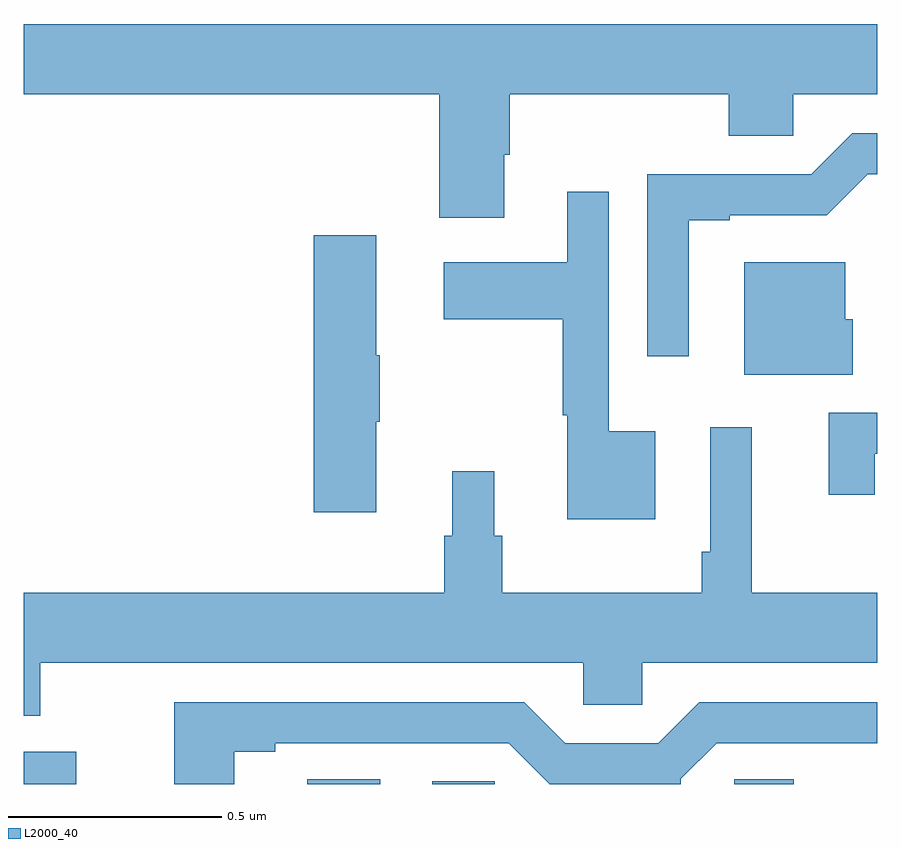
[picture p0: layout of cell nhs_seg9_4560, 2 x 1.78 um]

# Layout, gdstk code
import gdstk
lib = gdstk.Library(unit=1e-6, precision=1e-09)
def R(c, l, rs):  # rectangles x0, y0, x1, y1
    for r in rs: c.add(gdstk.rectangle(r[:2], r[2:], *l))
def P(c, l, *ps):  # polygons
    for p in ps: c.add(gdstk.Polygon(p, *l))
L2000_40 = (2000, 40)

nhs_seg9_4560 = lib.new_cell('nhs_seg9_4560')
R(nhs_seg9_4560, L2000_40, [(168,1165.5,168.123,1165.575), (168.665,1165.5,168.835,1165.511), (168.957,1165.5,169.104,1165.506), (169.665,1165.5,169.804,1165.511)])
P(nhs_seg9_4560, L2000_40, [(169.126,1166.974),(169.139,1166.974),(169.139,1167.116),(169.652,1167.116),(169.652,1167.018),(169.803,1167.018),(169.803,1167.116),(170,1167.116),(170,1167.28),(168,1167.28),(168,1167.116),(168.974,1167.116),(168.974,1166.826),(169.126,1166.826)],
  [(169.558,1166.82),(169.654,1166.82),(169.654,1166.832),(169.881,1166.832),(169.977,1166.928),(170,1166.928),(170,1167.024),(169.941,1167.024),(169.845,1166.928),(169.461,1166.928),(169.461,1166.502),(169.558,1166.502)],
  [(169.48,1166.326),(169.371,1166.326),(169.371,1166.887),(169.274,1166.887),(169.274,1166.722),(168.984,1166.722),(168.984,1166.588),(169.263,1166.588),(169.263,1166.364),(169.274,1166.364),(169.274,1166.12),(169.48,1166.12)],
  [(168.826,1166.348),(168.834,1166.348),(168.834,1166.504),(168.826,1166.504),(168.826,1166.785),(168.68,1166.785),(168.68,1166.136),(168.826,1166.136)],
  [(169.942,1166.589),(169.924,1166.589),(169.924,1166.722),(169.688,1166.722),(169.688,1166.459),(169.942,1166.459)],
  [(169.994,1166.274),(170,1166.274),(170,1166.37),(169.886,1166.37),(169.886,1166.178),(169.994,1166.178)],
  [(168.039,1165.784),(169.311,1165.784),(169.311,1165.686),(169.449,1165.686),(169.449,1165.784),(170,1165.784),(170,1165.948),(169.706,1165.948),(169.706,1166.335),(169.608,1166.335),(169.608,1166.044),(169.588,1166.044),(169.588,1165.948),(169.121,1165.948),(169.121,1166.082),(169.102,1166.082),(169.102,1166.233),(169.004,1166.233),(169.004,1166.082),(168.985,1166.082),(168.985,1165.948),(168,1165.948),(168,1165.66),(168.039,1165.66)],
  [(168.493,1165.576),(168.589,1165.576),(168.589,1165.596),(169.137,1165.596),(169.233,1165.5),(169.539,1165.5),(169.539,1165.512),(169.623,1165.596),(170,1165.596),(170,1165.692),(169.583,1165.692),(169.487,1165.596),(169.269,1165.596),(169.173,1165.692),(168.353,1165.692),(168.353,1165.5),(168.493,1165.5)])

lib.write_gds('nhs_seg9_4560.gds')
